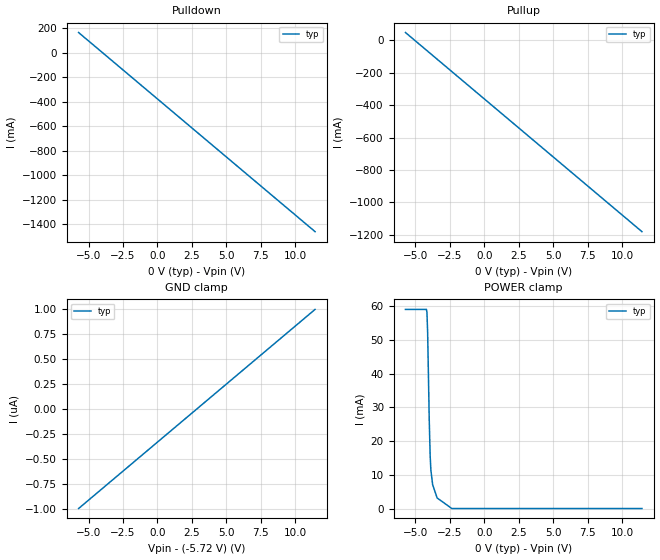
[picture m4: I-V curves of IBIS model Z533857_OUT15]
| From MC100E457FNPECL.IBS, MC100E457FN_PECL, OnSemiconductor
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| (C) COPYRIGHT 1993-2000
| MENTOR GRAPHICS CORPORATION
| ICX STANDARD LIBRARY, ICX PROJECT MODELING,
| ICX CUSTOM MODELING, ICX VENDOR MODEL
| ALL RIGHTS RESERVED.
| THE FOLLOWING ARE TRADEMARKS OR SERVICE MARKS OF
| MENTOR GRAPHICS CORPORATION:ICX (R), ICX STANDARD
| LIBRARY(R), ICX PROJECT MODELING(R), ICX CUSTOM
| MODELING(R), qualityIBIS(TM), MODELVIEWER(TM),
| AND MODELEDITOR(TM)
| ALL COPIES OF SOFTWARE, INCLUDING BUT NOT LIMITED TO
| ANY MODIFICATIONS, ENHANCEMENTS OR DERIVATIVE WORKS,
| MUST CONTAIN ALL MENTOR GRAPHICS CORPORATION'S
| NOTICES AND LEGENDS, INCLUDING THOSE EMBEDDED IN
| SOFTWARE AND THOSE AFFIXED TO SOFTWARE MEDIUM
| AND CONTAINER, AS RECEIVED FROM MENTOR GRAPHICS
| CORPORATION.
| Model Application Version 1.89 2/18/99.
[Model] Z533857_OUT15
Model_type Output_ECL
Vref=0.000V
Rref=500.0Mohms
Cref=50.00pF
Vmeas=3.620V
C_comp 8.000pF NA NA
| variable typ   min   max
[Voltage Range] -5.720V NA NA
[POWER Clamp Reference] 0.000V NA NA
[Pullup Reference] 0.000V NA NA
[Pulldown Reference] 0.000V NA NA
[GND Clamp Reference] -5.720V NA NA
[GND Clamp]
-5.72V    -1uA       NA         NA
11.44V    1uA        NA         NA
[Pulldown]
-5.72V    163.4mA    NA         NA
11.44V    -1.462A    NA         NA
[Pullup]
-5.72V    47.5mA     NA         NA
11.44V    -1.18A     NA         NA
[POWER Clamp]
-5.72V    59.07mA    NA         NA
-4.199V   59.07mA    NA         NA
-4.163V   58.27mA    NA         NA
-4.111V   52.24mA    NA         NA
-3.993V   25.85mA    NA         NA
-3.926V   15.41mA    NA         NA
-3.877V   11.42mA    NA         NA
-3.75V    7.11mA     NA         NA
-3.422V   3.13mA     NA         NA
-2.358V   0A         NA         NA
11.44V    0A         NA         NA
[Ramp]
| variable typ min max
dV/dt_r 596.0m/188.7p NA NA
dV/dt_f 596.0m/149.5p NA NA
R_load = 500.0Ohms
